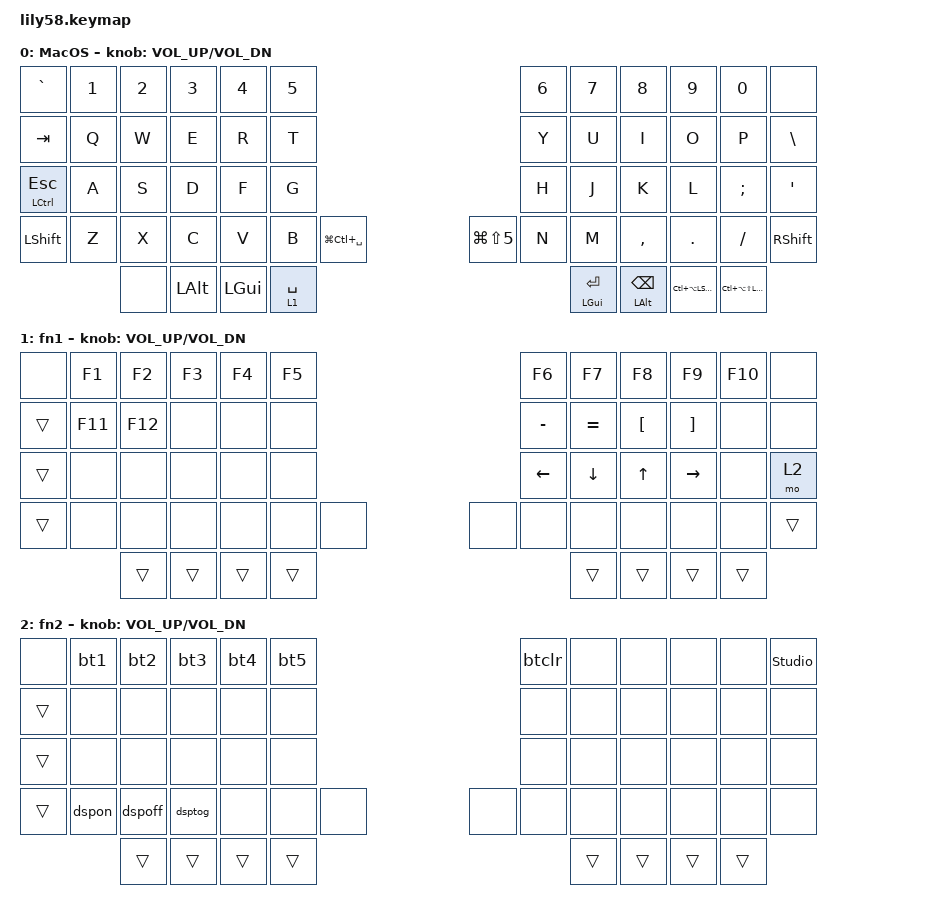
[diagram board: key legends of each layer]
/*
 * Copyright (c) 2020 The ZMK Contributors
 *
 * SPDX-License-Identifier: MIT
 */

#include <behaviors.dtsi>
#include <dt-bindings/zmk/bt.h>
#include <dt-bindings/zmk/ext_power.h>
#include <dt-bindings/zmk/keys.h>


// reduce the default hold time slightly
&mt {
    // tapping-term-ms = <200>; // This is the value already set by default
    flavor = "tap-preferred";
    tapping-term-ms = <185>;
    quick-tap-ms = <0>;
};
&lt {
    // tapping-term-ms = <200>; // This is the value already set by default
    flavor = "tap-preferred";
    tapping-term-ms = <185>;
    quick-tap-ms= <0>;
};


/ {
    macros {
        // ---- macos ----
        memoji: memoji {
            label = "mac_emoji";
            compatible = "zmk,behavior-macro";
            #binding-cells = <0>;
            bindings = <&macro_press &kp LGUI>, <&macro_press &kp LCTRL>, <&macro_tap &kp SPACE>, <&macro_release &kp LCTRL>, <&macro_release &kp LGUI>;
        };

        // ---- windows ----
        wemoji: wemoji {
            label = "win_emoji";
            compatible = "zmk,behavior-macro";
            #binding-cells = <0>;
            bindings = <&macro_press &kp LGUI>, <&macro_tap &kp DOT>, <&macro_release &kp LGUI>;
        };
    };

    behaviours {
        // bluetooth macros
        bt1: bt1 {
            compatible = "zmk,behavior-macro";
            label = "bt1";
            #binding-cells = <0>;
            bindings = <&bt BT_SEL 0>;
        };
        bt2: bt2 {
            compatible = "zmk,behavior-macro";
            label = "bt2";
            #binding-cells = <0>;
            bindings = <&bt BT_SEL 1>;
        };
        bt3: bt3 {
            compatible = "zmk,behavior-macro";
            label = "bt3";
            #binding-cells = <0>;
            bindings = <&bt BT_SEL 2>;
        };
        bt4: bt4 {
            compatible = "zmk,behavior-macro";
            label = "bt4";
            #binding-cells = <0>;
            bindings = <&bt BT_SEL 3>;
        };
        bt5: bt5 {
            compatible = "zmk,behavior-macro";
            label = "bt5";
            #binding-cells = <0>;
            bindings = <&bt BT_SEL 4>;
        };

        btclr: btclear {
            compatible = "zmk,behavior-macro";
            label = "bt_clear";
            #binding-cells = <0>;
            bindings = <&bt BT_CLR>;
        };

        // power management macros
        dspon: display_on {
            compatible = "zmk,behavior-macro";
            #binding-cells = <0>;
            bindings = <&ext_power EP_ON>;  // EP = OLED display
        };
        dspoff: display_off {
            compatible = "zmk,behavior-macro";
            #binding-cells = <0>;
            bindings = <&ext_power EP_OFF>;
        };
        dsptog: display_toggle {
            compatible = "zmk,behavior-macro";
            #binding-cells = <0>;
            bindings = <&ext_power EP_TOG>;
        };
/*
        td_mac: tap_dance_multi_mac {
            compatible = "zmk,behavior-tap-dance";
            label = "TAP_DANCE_MULTI_MAC";
            #binding-cells = <0>;
            tapping-term-ms = <200>;
            bindings = <&kp ESC>, <&spotlight>, <&mac_emoji>;
        };
*/
    };

    keymap {
        compatible = "zmk,keymap";
 
        MacOS {
// --------------------------------------------------------------------------------------------------------------------------------
// |   `   |   1   |   2   |   3   |   4   |   5   |++++++++++++++++++++++++++++++|   6   |   7   |   8   |   9   |   0   |   \   |
// |   ~   |   !   |   @   |   #   |   $   |   %   |++++++++++++++++++++++++++++++|   ^   |   &   |   *   |   (   |   )   |   |   |
// |-------|-------|-------|-------|-------|-------|++++++++++++++++++++++++++++++|-------|-------|-------|-------|-------|-------|
// | TAB   |   Q   |   W   |   E   |   R   |   T   |++++++++++++++++++++++++++++++|   Y   |   U   |   I   |   O   |   P   |   \   |
// |       |       |       |       |       |       |++++++++++++++++++++++++++++++|       |       |       |       |       |   |   |
// |-------|-------|-------|-------|-------|-------|++++++++++++++++++++++++++++++|-------|-------|-------|-------|-------|-------|
// | ESC   |   A   |   S   |   D   |   F   |   G   |++++++++++++++++++++++++++++++|   H   |   J   |   K   |   L   |   ;   |   '   |
// | LCTRL |       |       |       |       |       |++++++++++++++++++++++++++++++|       |       |       |       |   :   |   "   |
// |-------|-------|-------|-------|-------|-------|-------|++++++++++++++|-------|-------|-------|-------|-------|-------|-------|
// | LSHFT |   Z   |   X   |   C   |   V   |   B   | 🌐    |++++++++++++++| 📸    |   N   |   M   |   ,   |   .   |   /   | RSHFT |
// |       |       |       |       |       |       |       |++++++++++++++|       |       |       |   <   |   >   |   ?   |       |
// |-------|-------|-------|-------|-------|-------|-------|++++++++++++++|-------|-------|-------|-------|-------|-------|-------|
//                      |       |  ALT  |  CMD  |   SPACE  |++++++++++++++|  ENTER   | BKSPC | MEH   | HYPER |
//                      |       |       |       |    fn1   |++++++++++++++|  CMD     | ALT   |       |       |
//                      |-------|-------|-------|----------|++++++++++++++|----------|-------|-------|-------|
            bindings = <
&kp GRAVE      &kp N1  &kp N2  &kp N3  &kp N4  &kp N5 /* ---------------------------------------- */ &kp N6  &kp N7  &kp N8     &kp N9   &kp N0    &none
&kp TAB        &kp Q   &kp W   &kp E   &kp R   &kp T  /* ---------------------------------------- */ &kp Y   &kp U   &kp I      &kp O    &kp P     &kp BACKSLASH
&mt LCTRL ESC  &kp A   &kp S   &kp D   &kp F   &kp G  /* ---------------------------------------- */ &kp H   &kp J   &kp K      &kp L    &kp SEMI  &kp SQT
&kp LSHFT      &kp Z   &kp X   &kp C   &kp V   &kp B  &kp LG(LC(SPACE)) /* ------ */ &kp LG(LS(N5))  &kp N   &kp M   &kp COMMA  &kp DOT  &kp FSLH  &kp RSHFT
                          &none  &kp LALT  &kp LGUI  &lt 1 SPACE         /* ------ */ &mt LGUI RET  &mt LALT BACKSPACE  &kp LC(LA(LSHFT))  &kp LC(LA(LS(LGUI)))
            >;
            sensor-bindings = <&inc_dec_kp C_VOL_UP C_VOL_DN>;
        };

        fn1 {
// --------------------------------------------------------------------------------------------------------------------------------
// |   `   |  F1   |  F2   |   F3  |   F4  |   F5  |++++++++++++++++++++++++++++++|  F6   |  F7   |  F8   |  F9   |  F10  |       |
// |   ~   |       |       |       |       |       |++++++++++++++++++++++++++++++|       |       |       |       |       |       |
// |-------|-------|-------|-------|-------|-------|++++++++++++++++++++++++++++++|-------|-------|-------|-------|-------|-------|
// | TAB   |  F11  |  F12  |       |       |       |++++++++++++++++++++++++++++++|   -   |   =   |   [   |   ]   |       |       |
// |       |       |       |       |       |       |++++++++++++++++++++++++++++++|   _   |   +   |   {   |   }   |       |       |
// |-------|-------|-------|-------|-------|-------|++++++++++++++++++++++++++++++|-------|-------|-------|-------|-------|-------|
// | ESC   |       |       |       |       |       |++++++++++++++++++++++++++++++| Left  | Down  |  Up   | Right |       | fn2   |
// | LCTRL |       |       |       |       |       |++++++++++++++++++++++++++++++|       |       |       |       |       |       |
// |-------|-------|-------|-------|-------|-------|-------|++++++++++++++|-------|-------|-------|-------|-------|-------|-------|
// | LSHFT |       |       |       |       |       |       |++++++++++++++|       |       |       |       |       |       | RSHFT |
// |       |       |       |       |       |       |       |++++++++++++++|       |       |       |       |       |       |       |
// |-------|-------|-------|-------|-------|-------|-------|++++++++++++++|-------|-------|-------|-------|-------|-------|-------|
//                      |       |  ALT  |  CMD  |   SPACE  |++++++++++++++|  ENTER   | BKSPC |       |       |
//                      |       |       |       |    fn1   |++++++++++++++|  MEH     | HYPER |       |       |
//                      |-------|-------|-------|----------|++++++++++++++|----------|-------|-------|-------|
            bindings = <
&none   &kp F1   &kp F2   &kp F3  &kp F4  &kp F5 /* --------------------*/ &kp F6     &kp F7     &kp F8    &kp F9     &kp F10  &none
&trans  &kp F11  &kp F12  &none   &none   &none  /* --------------------*/ &kp MINUS  &kp EQUAL  &kp LBKT  &kp RBKT   &none    &none   
&trans  &none    &none    &none   &none   &none  /* --------------------*/ &kp LEFT   &kp DOWN   &kp UP    &kp RIGHT  &none    &mo 2
&trans  &none    &none    &none   &none   &none  &none /* ------*/ &none   &none      &none      &none     &none      &none    &trans
                        &trans  &trans  &trans  &trans /* ----- */ &trans  &trans  &trans  &trans
            >;
            sensor-bindings = <&inc_dec_kp C_VOL_UP C_VOL_DN>;
        };

        fn2 {
// --------------------------------------------------------------------------------------------------------------------------------
// |       |  BT1  |  BT2  |  BT3  |  BT4  |  BT5  |++++++++++++++++++++++++++++++| BTCLR |       |       |       |       | Stdio |
// |       |       |       |       |       |       |++++++++++++++++++++++++++++++|       |       |       |       |       | Unlck |
// |-------|-------|-------|-------|-------|-------|++++++++++++++++++++++++++++++|-------|-------|-------|-------|-------|-------|
// | TAB   |       |       |       |       |       |++++++++++++++++++++++++++++++|       |       |       |       |       |       |
// |       |       |       |       |       |       |++++++++++++++++++++++++++++++|       |       |       |       |       |       |
// |-------|-------|-------|-------|-------|-------|++++++++++++++++++++++++++++++|-------|-------|-------|-------|-------|-------|
// | ESC   |       |       |       |       |       |++++++++++++++++++++++++++++++|       |       |       |       |       |       |
// | LCTRL |       |       |       |       |       |++++++++++++++++++++++++++++++|       |       |       |       |       |       |
// |-------|-------|-------|-------|-------|-------|-------|++++++++++++++|-------|-------|-------|-------|-------|-------|-------|
// | LSHFT | Disp  | Disp  | Disp  |       |       |       |++++++++++++++|       |       |       |       |       |       | RSHFT |
// |       |  On   | Off   | Tog   |       |       |       |++++++++++++++|       |       |       |       |       |       |       |
// |-------|-------|-------|-------|-------|-------|-------|++++++++++++++|-------|-------|-------|-------|-------|-------|-------|
//                      |       |  ALT  |  CMD  |   SPACE  |++++++++++++++|  ENTER   | BKSPC | MEH   | HYPER |
//                      |       |       |       |    fn1   |++++++++++++++|   fn2    |       |       |       |
//                      |-------|-------|-------|----------|++++++++++++++|----------|-------|-------|-------|
            bindings = <
&none   &bt1    &bt2     &bt3     &bt4   &bt5  /* --------------------- */ &btclr  &none  &none  &none  &none  &studio_unlock
&trans  &none   &none    &none    &none  &none /* --------------------- */ &none   &none  &none  &none  &none  &none
&trans  &none   &none    &none    &none  &none /* ----------------------*/ &none   &none  &none  &none  &none  &none
&trans  &dspon  &dspoff  &dsptog  &none  &none  &none /* ------ */ &none  &none   &none  &none  &none  &none  &none
                        &trans  &trans  &trans  &trans /* ----- */ &trans  &trans  &trans  &trans
            >;
            sensor-bindings = <&inc_dec_kp C_VOL_UP C_VOL_DN>;
        };
    };
};
